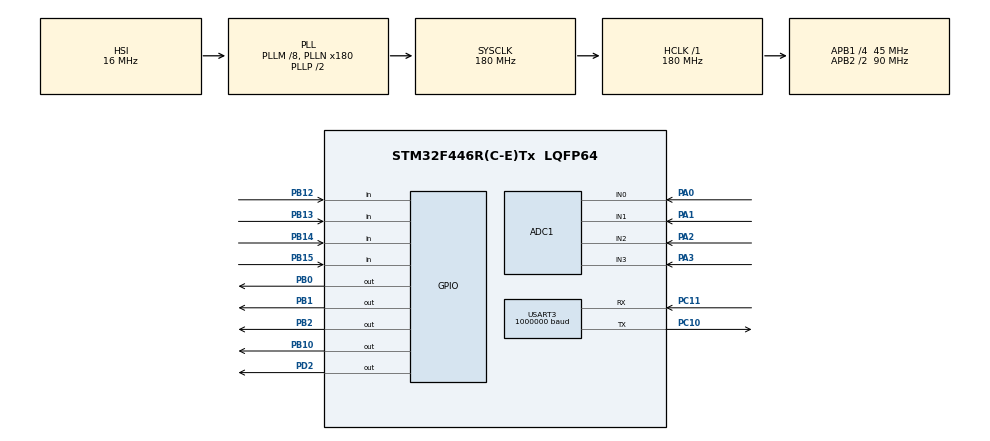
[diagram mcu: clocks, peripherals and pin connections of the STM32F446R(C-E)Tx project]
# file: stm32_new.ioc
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ADC1.Channel-1\#ChannelRegularConversion=ADC_CHANNEL_1
ADC1.Channel-2\#ChannelRegularConversion=ADC_CHANNEL_3
ADC1.Channel-3\#ChannelRegularConversion=ADC_CHANNEL_3
ADC1.ClockPrescaler=ADC_CLOCK_SYNC_PCLK_DIV4
ADC1.DMAContinuousRequests=ENABLE
ADC1.ExternalTrigConv=ADC_EXTERNALTRIGCONV_T8_TRGO
ADC1.NbrOfConversion=4
ADC1.NbrOfConversionFlag=1
ADC1.Rank-1\#ChannelRegularConversion=2
ADC1.Rank-2\#ChannelRegularConversion=3
ADC1.Rank-3\#ChannelRegularConversion=4
ADC1.SamplingTime-0\#ChannelRegularConversion=ADC_SAMPLETIME_15CYCLES
ADC1.SamplingTime-1\#ChannelRegularConversion=ADC_SAMPLETIME_15CYCLES
ADC1.SamplingTime-2\#ChannelRegularConversion=ADC_SAMPLETIME_15CYCLES
ADC1.SamplingTime-3\#ChannelRegularConversion=ADC_SAMPLETIME_15CYCLES
ADC1.ScanConvMode=ENABLE
ADC1.master=1
Dma.ADC1.0.Direction=DMA_PERIPH_TO_MEMORY
Dma.ADC1.0.FIFOMode=DMA_FIFOMODE_DISABLE
Dma.ADC1.0.Instance=DMA2_Stream0
Dma.ADC1.0.MemDataAlignment=DMA_MDATAALIGN_WORD
Dma.ADC1.0.MemInc=DMA_MINC_ENABLE
Dma.ADC1.0.Mode=DMA_CIRCULAR
Dma.ADC1.0.PeriphDataAlignment=DMA_PDATAALIGN_WORD
Dma.ADC1.0.PeriphInc=DMA_PINC_DISABLE
Dma.ADC1.0.Priority=DMA_PRIORITY_LOW
Dma.Request0=ADC1
Dma.Request1=USART3_RX
Dma.USART3_RX.1.Direction=DMA_PERIPH_TO_MEMORY
Dma.USART3_RX.1.FIFOMode=DMA_FIFOMODE_DISABLE
Dma.USART3_RX.1.Instance=DMA1_Stream1
Dma.USART3_RX.1.MemDataAlignment=DMA_MDATAALIGN_BYTE
Dma.USART3_RX.1.MemInc=DMA_MINC_ENABLE
Dma.USART3_RX.1.Mode=DMA_CIRCULAR
Dma.USART3_RX.1.PeriphDataAlignment=DMA_PDATAALIGN_BYTE
Dma.USART3_RX.1.PeriphInc=DMA_PINC_DISABLE
Dma.USART3_RX.1.Priority=DMA_PRIORITY_LOW
Mcu.Family=STM32F4
Mcu.Name=STM32F446R(C-E)Tx
Mcu.Package=LQFP64
NVIC.ADC_IRQn=true\:0\:0\:false\:false\:true\:true\:true\:true
NVIC.DMA1_Stream1_IRQn=true\:0\:0\:false\:false\:true\:false\:true\:true
NVIC.DMA2_Stream0_IRQn=true\:0\:0\:false\:false\:true\:false\:true\:true
NVIC.PriorityGroup=NVIC_PRIORITYGROUP_4
NVIC.TIM6_DAC_IRQn=true\:0\:0\:false\:false\:true\:true\:true\:true
NVIC.TIM8_UP_TIM13_IRQn=true\:0\:0\:false\:false\:true\:true\:true\:true
NVIC.USART3_IRQn=true\:0\:0\:false\:false\:true\:true\:true\:true
PA0-WKUP.Signal=ADCx_IN0
PA1.Signal=ADCx_IN1
PA13.Mode=Serial_Wire
PA13.Signal=SYS_JTMS-SWDIO
PA14.Mode=Serial_Wire
PA14.Signal=SYS_JTCK-SWCLK
PA2.Signal=ADCx_IN2
PA3.Signal=ADCx_IN3
PB0.Signal=GPIO_Output
PB1.Signal=GPIO_Output
PB10.Signal=GPIO_Output
PB12.Signal=GPIO_Input
PB13.Signal=GPIO_Input
PB14.Signal=GPIO_Input
PB15.Signal=GPIO_Input
PB2.Signal=GPIO_Output
PC10.Mode=Asynchronous
PC10.Signal=USART3_TX
PC11.Mode=Asynchronous
PC11.Signal=USART3_RX
PD2.Signal=GPIO_Output
PH0-OSC_IN.Mode=HSE-External-Oscillator
PH0-OSC_IN.Signal=RCC_OSC_IN
PH1-OSC_OUT.Mode=HSE-External-Oscillator
PH1-OSC_OUT.Signal=RCC_OSC_OUT
ProjectManager.HeapSize=0x200
ProjectManager.StackSize=0x400
ProjectManager.TargetToolchain=STM32CubeIDE
RCC.AHBFreq_Value=180000000
RCC.APB1CLKDivider=RCC_HCLK_DIV4
RCC.APB1Freq_Value=45000000
RCC.APB1TimFreq_Value=90000000
RCC.APB2CLKDivider=RCC_HCLK_DIV2
RCC.APB2Freq_Value=90000000
RCC.APB2TimFreq_Value=180000000
RCC.CortexFreq_Value=180000000
RCC.HCLKFreq_Value=180000000
RCC.HSE_VALUE=25000000
RCC.PLLM=8
RCC.PLLN=180
RCC.SYSCLKFreq_VALUE=180000000
RCC.SYSCLKSource=RCC_SYSCLKSOURCE_PLLCLK
RCC.USBFreq_Value=180000000
RCC.VCOOutputFreq_Value=360000000
SH.ADCx_IN0.0=ADC1_IN0,IN0
SH.ADCx_IN1.0=ADC1_IN1,IN1
SH.ADCx_IN2.0=ADC1_IN2,IN2
SH.ADCx_IN3.0=ADC1_IN3,IN3
TIM6.Period=100-1
TIM6.Prescaler=90-1
TIM8.Period=10000-1
TIM8.Prescaler=180-1
TIM8.TIM_MasterOutputTrigger=TIM_TRGO_UPDATE
USART3.BaudRate=1000000
USART3.VirtualMode=VM_ASYNC
VP_TIM6_VS_ClockSourceINT.Mode=Enable_Timer
VP_TIM8_VS_ClockSourceINT.Mode=Internal
board=custom

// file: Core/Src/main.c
/* USER CODE BEGIN Header */
/**
 ******************************************************************************
 * @file           : main.c
 * @brief          : Main program body
 ******************************************************************************
 * @attention
 *
 * Copyright (c) 2026 STMicroelectronics.
 * All rights reserved.
 *
 * This software is licensed under terms that can be found in the LICENSE file
 * in the root directory of this software component.
 * If no LICENSE file comes with this software, it is provided AS-IS.
 *
 ******************************************************************************
 */
/* USER CODE END Header */
#include "main.h"
#include "adc.h"
#include "dma.h"
#include "tim.h"
#include "usart.h"
#include "gpio.h"

/* USER CODE BEGIN PD */
#define RX_BUFFER_SIZE 256 // USART 수신 버퍼 크기
/* USER CODE END PD */

/* USER CODE BEGIN PV */
uint8_t PCrxBuffer[RX_BUFFER_SIZE];

uint8_t SW_DATA; // sw 데이터. LSB(오른쪽)부터 PB12,13,14,15
uint8_t SW_DATA_PREV = 0; // [수정1] 이전 스위치 상태 저장용 (Edge Detection)

/* Protocol 2.0 패킷 (CRC 포함, 정확하게 수정됨)
 * torq_on     : ID14, Address64(Torque Enable) = 1
 * pos_center  : ID14, Address116(Goal Position) = 1024 -> 약 90도  (스위치 PB12용)
 * pos_p90     : ID14, Address116(Goal Position) = 2048 -> 약 180도 (스위치 PB13용)
 * pos_m90     : ID14, Address116(Goal Position) = 0    -> 0도     (스위치 PB14용)
 */
//Protocol 2.0 규칙(Header+ID+Len+Inst+Addr+Data+CRC) 및 정확한 CRC16 반영
const uint8_t torq_on[] = {
	0xFF, 0xFF, 0xFD, 0x00, 0x0E, 0x06, 0x00, 0x03,
	0x40, 0x00, 0x01, 0x2B, 0x69
};
const uint8_t pos_center[] = {
	0xFF, 0xFF, 0xFD, 0x00, 0x0E, 0x09, 0x00, 0x03,
	0x74, 0x00, 0x00, 0x04, 0x00, 0x00, 0x71, 0x29
};
const uint8_t pos_p90[] = {
	0xFF, 0xFF, 0xFD, 0x00, 0x0E, 0x09, 0x00, 0x03,
	0x74, 0x00, 0x00, 0x08, 0x00, 0x00, 0x81, 0x29
};
const uint8_t pos_m90[] = {
	0xFF, 0xFF, 0xFD, 0x00, 0x0E, 0x09, 0x00, 0x03,
	0x74, 0x00, 0x00, 0x00, 0x00, 0x00, 0x22, 0xA9
};
/* USER CODE END PV */

void SystemClock_Config(void);
/* USER CODE BEGIN PFP */
void sw_data_set(void);
/* USER CODE END PFP */

/* USER CODE BEGIN 0 */

// 패킷 송신
void pkt_send(const uint8_t *pkt, uint8_t len) {
	// [수정3] RS-485 / Half-Duplex 사용 시 Direction 핀을 TX HIGH로 설정하는 코드 예시
	// HAL_GPIO_WritePin(GPIOC, GPIO_PIN_4, GPIO_PIN_SET); // 사용 중인 DIR 핀에 맞게 주석 해제하여 사용

	for (uint8_t i = 0; i < len; i++) {
		while (!LL_USART_IsActiveFlag_TXE(USART3))
			;
		LL_USART_TransmitData8(USART3, pkt[i]);
	}
	while (!LL_USART_IsActiveFlag_TC(USART3))
		;

	// HAL_GPIO_WritePin(GPIOC, GPIO_PIN_4, GPIO_PIN_RESET); // 송신 종료 후 RX Mode (LOW) 전환
}
/* USER CODE END 0 */

int main(void)
{

  /* MCU Configuration--------------------------------------------------------*/

  /* Reset of all peripherals, Initializes the Flash interface and the Systick. */
  HAL_Init();

  /* Configure the system clock */
  SystemClock_Config();

  /* Initialize all configured peripherals */
  MX_GPIO_Init();
  MX_DMA_Init();
  MX_ADC1_Init();
  MX_TIM8_Init();
  MX_TIM6_Init();
  MX_USART3_UART_Init();
  /* USER CODE BEGIN 2 */

	/* RX용 DMA + IDLE 인터럽트 설정 (다이나믹셀 응답 수신용) */
	LL_DMA_SetMemoryAddress(DMA1, LL_DMA_STREAM_1, (uint32_t) PCrxBuffer);
	LL_DMA_SetPeriphAddress(DMA1, LL_DMA_STREAM_1, (uint32_t) &USART3->DR);
	LL_DMA_SetDataLength(DMA1, LL_DMA_STREAM_1, RX_BUFFER_SIZE);
	LL_DMA_EnableStream(DMA1, LL_DMA_STREAM_1);
	LL_USART_EnableDMAReq_RX(USART3);
	LL_USART_EnableIT_IDLE(USART3);

	HAL_Delay(100);            // 모터 전원 안정화 대기
	pkt_send(torq_on, sizeof(torq_on));   // 토크 켜기
	HAL_Delay(10);

  /* USER CODE END 2 */

  /* Infinite loop */
  /* USER CODE BEGIN WHILE */
	while (1) {
		HAL_Delay(50);
		sw_data_set(); // 스위치 값 읽어옴 (안 눌림=1, 눌림=0, 풀업 기준)

		// [수정4] Edge Detection: 눌리는 '순간'(High -> Low 전환) 1회만 패킷 전송
		uint8_t sw_pressed = (~SW_DATA) & SW_DATA_PREV;

		/* PB12 눌림 -> 90도 (pos_center) */
		if (!(SW_DATA & 0x01)) {
			HAL_GPIO_WritePin(GPIOB, GPIO_PIN_0, GPIO_PIN_RESET);
			if (sw_pressed & 0x01) {
				pkt_send(pos_center, sizeof(pos_center));
			}
		} else {
			HAL_GPIO_WritePin(GPIOB, GPIO_PIN_0, GPIO_PIN_SET);
		}

		/* PB13 눌림 -> 180도 (pos_p90) */
		if (!(SW_DATA & 0x02)) {
			HAL_GPIO_WritePin(GPIOB, GPIO_PIN_1, GPIO_PIN_RESET);
			if (sw_pressed & 0x02) {
				pkt_send(pos_p90, sizeof(pos_p90));
			}
		} else {
			HAL_GPIO_WritePin(GPIOB, GPIO_PIN_1, GPIO_PIN_SET);
		}

		/* PB14 눌림 -> 0도 (pos_m90) */
		if (!(SW_DATA & 0x04)) {
			HAL_GPIO_WritePin(GPIOB, GPIO_PIN_2, GPIO_PIN_RESET);
			if (sw_pressed & 0x04) {
				pkt_send(pos_m90, sizeof(pos_m90));
			}
		} else {
			HAL_GPIO_WritePin(GPIOB, GPIO_PIN_2, GPIO_PIN_SET);
		}

		SW_DATA_PREV = SW_DATA; // 현재 스위치 상태를 이전 상태로 업데이트

    /* USER CODE END WHILE */

	}
}

void SystemClock_Config(void)
{
  RCC_OscInitTypeDef RCC_OscInitStruct = {0};
  RCC_ClkInitTypeDef RCC_ClkInitStruct = {0};

  /** Configure the main internal regulator output voltage
  */
  __HAL_RCC_PWR_CLK_ENABLE();
  __HAL_PWR_VOLTAGESCALING_CONFIG(PWR_REGULATOR_VOLTAGE_SCALE1);

  /** Initializes the RCC Oscillators according to the specified parameters
  * in the RCC_OscInitTypeDef structure.
  */
  RCC_OscInitStruct.OscillatorType = RCC_OSCILLATORTYPE_HSI;
  RCC_OscInitStruct.HSIState = RCC_HSI_ON;
  RCC_OscInitStruct.HSICalibrationValue = RCC_HSICALIBRATION_DEFAULT;
  RCC_OscInitStruct.PLL.PLLState = RCC_PLL_ON;
  RCC_OscInitStruct.PLL.PLLSource = RCC_PLLSOURCE_HSI;
  RCC_OscInitStruct.PLL.PLLM = 8;
  RCC_OscInitStruct.PLL.PLLN = 180;
  RCC_OscInitStruct.PLL.PLLP = RCC_PLLP_DIV2;
  RCC_OscInitStruct.PLL.PLLQ = 2;
  RCC_OscInitStruct.PLL.PLLR = 2;
  if (HAL_RCC_OscConfig(&RCC_OscInitStruct) != HAL_OK)
  {
    Error_Handler();
  }

  /** Activate the Over-Drive mode
  */
  if (HAL_PWREx_EnableOverDrive() != HAL_OK)
  {
    Error_Handler();
  }

  /** Initializes the CPU, AHB and APB buses clocks
  */
  RCC_ClkInitStruct.ClockType = RCC_CLOCKTYPE_HCLK|RCC_CLOCKTYPE_SYSCLK
                              |RCC_CLOCKTYPE_PCLK1|RCC_CLOCKTYPE_PCLK2;
  RCC_ClkInitStruct.SYSCLKSource = RCC_SYSCLKSOURCE_PLLCLK;
  RCC_ClkInitStruct.AHBCLKDivider = RCC_SYSCLK_DIV1;
  RCC_ClkInitStruct.APB1CLKDivider = RCC_HCLK_DIV4;
  RCC_ClkInitStruct.APB2CLKDivider = RCC_HCLK_DIV2;

  if (HAL_RCC_ClockConfig(&RCC_ClkInitStruct, FLASH_LATENCY_5) != HAL_OK)
  {
    Error_Handler();
  }
}

/* USER CODE BEGIN 4 */

// 스위치 세팅 (PB12,13,14,15 -> SW_DATA 비트0~3)
void sw_data_set(void) {
	if (HAL_GPIO_ReadPin(GPIOB, GPIO_PIN_12))
		SW_DATA |= 0x01;
	else
		SW_DATA &= ~(0x01);

	if (HAL_GPIO_ReadPin(GPIOB, GPIO_PIN_13))
		SW_DATA |= 0x02;
	else
		SW_DATA &= ~(0x02);

	if (HAL_GPIO_ReadPin(GPIOB, GPIO_PIN_14))
		SW_DATA |= 0x04;
	else
		SW_DATA &= ~(0x04);

	if (HAL_GPIO_ReadPin(GPIOB, GPIO_PIN_15))
		SW_DATA |= 0x08;
	else
		SW_DATA &= ~(0x08);
}

/* USER CODE END 4 */

void Error_Handler(void)
{
	__disable_irq();
	while (1) {
	}
}
